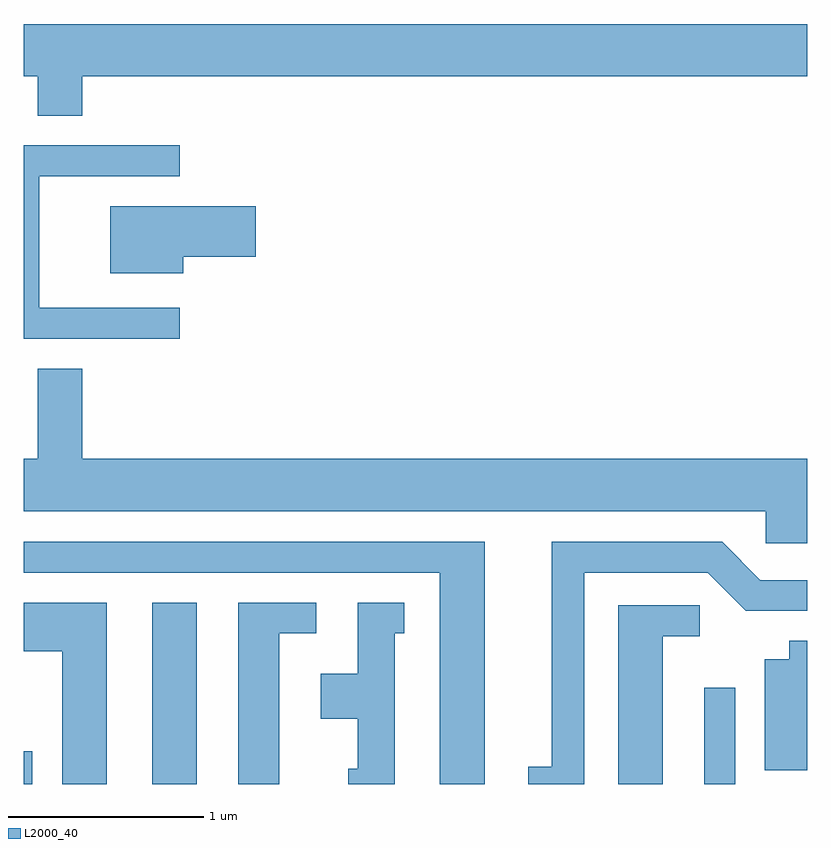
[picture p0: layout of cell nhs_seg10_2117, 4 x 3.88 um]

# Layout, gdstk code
import gdstk
lib = gdstk.Library(unit=1e-6, precision=1e-09)
def R(c, l, rs):  # rectangles x0, y0, x1, y1
    for r in rs: c.add(gdstk.rectangle(r[:2], r[2:], *l))
def P(c, l, *ps):  # polygons
    for p in ps: c.add(gdstk.Polygon(p, *l))
L2000_40 = (2000, 40)

nhs_seg10_2117 = lib.new_cell('nhs_seg10_2117')
R(nhs_seg10_2117, L2000_40, [(247.611,2112.522,247.654,2112.689), (248.266,2112.522,248.494,2113.449), (251.086,2112.522,251.244,2113.013)])
P(nhs_seg10_2117, L2000_40, [(247.611,2116.136),(247.681,2116.136),(247.681,2115.936),(247.909,2115.936),(247.909,2116.136),(251.611,2116.136),(251.611,2116.404),(247.611,2116.404)],
  [(248.408,2114.954),(247.689,2114.954),(247.689,2115.626),(248.408,2115.626),(248.408,2115.784),(247.611,2115.784),(247.611,2114.796),(248.408,2114.796)],
  [(248.424,2115.216),(248.794,2115.216),(248.794,2115.474),(248.051,2115.474),(248.051,2115.131),(248.424,2115.131)],
  [(251.611,2114.184),(247.909,2114.184),(247.909,2114.644),(247.681,2114.644),(247.681,2114.184),(247.611,2114.184),(247.611,2113.916),(251.401,2113.916),(251.401,2113.751),(251.611,2113.751)],
  [(250.474,2113.601),(251.104,2113.601),(251.299,2113.406),(251.611,2113.406),(251.611,2113.564),(251.372,2113.564),(251.177,2113.759),(250.306,2113.759),(250.306,2112.609),(250.188,2112.609),(250.188,2112.522),(250.474,2112.522)],
  [(249.964,2113.759),(247.611,2113.759),(247.611,2113.601),(249.736,2113.601),(249.736,2112.522),(249.964,2112.522)],
  [(249.504,2113.291),(249.553,2113.291),(249.553,2113.449),(249.316,2113.449),(249.316,2113.084),(249.126,2113.084),(249.126,2112.856),(249.316,2112.856),(249.316,2112.599),(249.268,2112.599),(249.268,2112.522),(249.504,2112.522)],
  [(248.034,2113.449),(247.611,2113.449),(247.611,2113.201),(247.806,2113.201),(247.806,2112.522),(248.034,2112.522)],
  [(248.914,2113.291),(249.103,2113.291),(249.103,2113.449),(248.706,2113.449),(248.706,2112.522),(248.914,2112.522)],
  [(250.874,2113.276),(251.063,2113.276),(251.063,2113.434),(250.646,2113.434),(250.646,2112.522),(250.874,2112.522)],
  [(251.611,2113.254),(251.521,2113.254),(251.521,2113.159),(251.396,2113.159),(251.396,2112.591),(251.611,2112.591)])

lib.write_gds('nhs_seg10_2117.gds')
